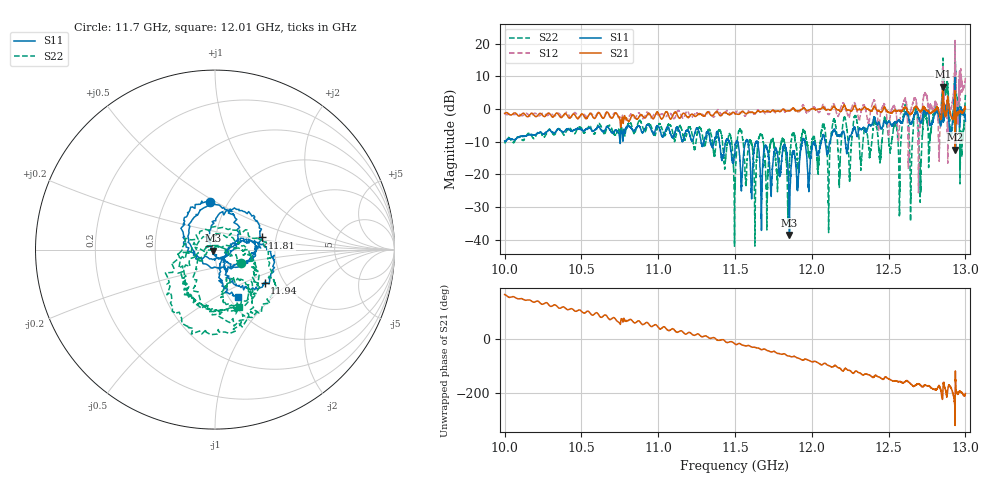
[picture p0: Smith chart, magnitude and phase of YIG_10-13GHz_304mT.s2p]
#  HZ  S  RI  R  50.0
! Rohde & Schwarz ZVL13 2Ports - Version 3.31 - 1303.6509k13 SN: 101088
! Date: 2023-03-06 15:53:02
! Data & Calibration Information:
! Trc4:S11(TOSM) Trc2:S21(TOSM) Trc3:S12(TOSM) Trc5:S22(TOSM)
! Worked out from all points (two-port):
!   4000 points, 10 GHz to 13 GHz, reference 50 ohm
!   highest |S21| = 6.80 dB at 12.85 GHz (marker M1); lowest = -12.4 dB at 12.93 GHz (marker M2)
!   |S21| within 3 dB of the highest: 12.85093 GHz to 12.8557 GHz (4.771 MHz wide, 0.0371 % of centre); 12.93142 GHz to 12.93324 GHz (1.824 MHz wide, 0.0141 % of centre)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
!   lowest |S11| = -38.5 dB at 11.85 GHz (marker M3), VSWR 1.02, Z = 49 - j0.609 ohm
!   |S11| at or under -10 dB: 11.51486 GHz to 11.56929 GHz (54.43 MHz wide, 0.472 % of centre); 11.65 GHz to 11.94 GHz (292.8 MHz wide, 2.48 % of centre); 11.95518 GHz to 12.01187 GHz (56.69 MHz wide, 0.473 % of centre)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
!   |S22| runs from -41.9 to 20.8 dB; largest |S21 - S12| = 9.5
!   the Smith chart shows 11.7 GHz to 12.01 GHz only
!   S11 on the Smith chart (normalised r, x): 11.7 GHz: 0.83, +0.47; 11.81 GHz: 1.70, +0.25; 11.94 GHz: 1.59, -0.66; 12.01 GHz: 1.10, -0.63
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1e10  0.3139 0.0803  -0.8344 0.1971  -0.815 0.238  0.2337 0.1845
1.050038e10  0.341 -0.3409  -0.2045 0.8147  -0.2702 0.7703  0.5002 -0.1292
1.1e10  -0.1397 -0.5231  0.6173 0.6113  0.5195 0.6149  0.00828 -0.5579
1.150038e10  -0.2175 0.1669  0.8028 -0.27  0.8186 -0.2641  -0.0547 0.0315
1.169617e10  -0.0263 0.2635  0.7151 -0.5546  0.6675 -0.5275  0.1439 -0.0755
1.18147e10  0.2645 0.0677  0.5708 -0.8097  0.6176 -0.7723  0.1476 -0.2858
1.185446e10  -0.0101 -0.00621  0.4234 -0.8326  0.4317 -0.8264  -0.1068 -0.1097
1.194149e10  0.2764 -0.1848  0.217 -1.007  0.2633 -1.111  -0.1387 -0.4329
1.2e10  0.0614 -0.2349  0.1009 -0.9989  0.0409 -1.021  0.0619 -0.3059
1.200675e10  0.1274 -0.2615  0.1047 -1.014  0.0921 -1.062  0.1336 -0.322
1.250038e10  -0.5107 -0.404  -0.7597 -0.4702  -0.3758 -0.1728  0.1356 -0.3252
1.278845e10  -0.5788 0.3323  -0.909 0.0951  -0.9395 -0.0692  -0.5623 -0.4499
1.282596e10  -0.7776 0.1741  -0.9228 -0.0567  -0.1549 -0.2677  0.6394 -0.0197
1.283871e10  -0.5011 0.2353  -0.6929 0.082  -0.4967 0.5195  0.0671 0.7567
1.285446e10  -1.358 0.1261  -2.182 0.1556  -3.837 -2.302  -5.894 -1.124
1.287022e10  -0.8509 0.6172  -0.8487 0.1351  -0.7338 -0.6739  -0.587 -1.583
1.288972e10  -0.8099 -0.0216  -1.209 -0.1116  -0.3772 0.6605  1.259 0.2523
1.291823e10  -0.2984 0.6517  -0.6841 0.2596  -1.218 0.7691  -0.014 0.6561
1.293398e10  0.0673 1.162  -0.1655 0.1739  2.102 1.803  2.948 -1.32
1.294899e10  -0.5078 0.8758  -0.7853 0.3446  0.3047 -0.8217  -0.1906 -1.091
1.297224e10  -0.5419 0.7691  -0.8659 0.2798  -2.694 0.9074  -0.3926 -0.1831
1.3e10  -0.3738 0.5295  -0.9287 0.3868  -2.768 -1.082  -1.631 0.1774
